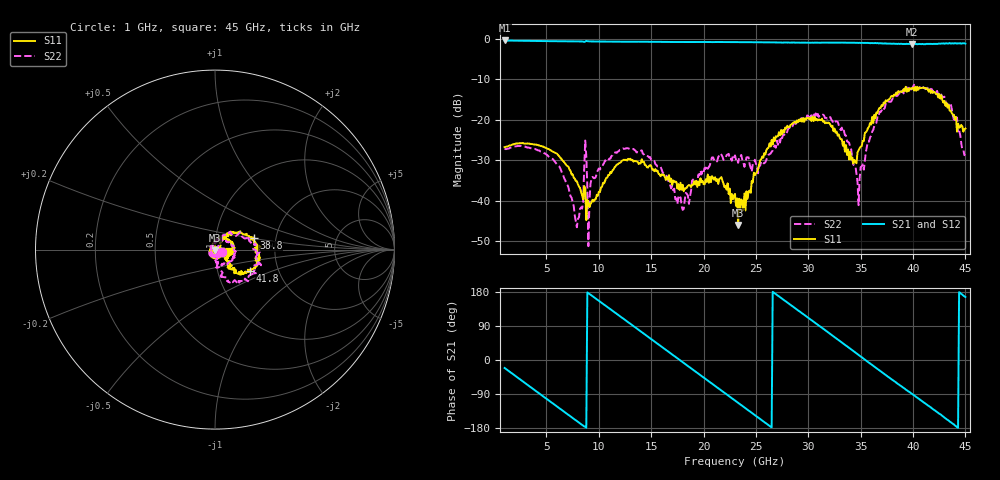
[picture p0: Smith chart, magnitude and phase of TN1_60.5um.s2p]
!Keysight Technologies,N5247B,MY61255062,A.19.80.06
!Date: Monday, May 18, 2026 12:19:07
!Correction: S11(Cdelta 2-Port  )
!S21(Cdelta 2-Port  )
!S12(Cdelta 2-Port  )
!S22(Cdelta 2-Port  )
!S2P File: Measurements: S11, S21, S12, S22:
# Hz S  dB  R 50
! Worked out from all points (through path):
!   441 points, 1 GHz to 45 GHz, reference 50 ohm
!   highest |S21| = -0.41 dB at 1 GHz (marker M1); lowest = -1.3 dB at 39.9 GHz (marker M2)
!   group delay of S21, straight-line fit = 56.3 ps
!   lowest |S11| = -46.0 dB at 23.3 GHz (marker M3), VSWR 1.01, Z = 49.9 - j0.476 ohm
!   |S11| at or under -10 dB: start of sweep to end of sweep
!   |S22| runs from -51.2 to -11.3 dB; largest |S21 - S12| = 0.02
!   S11 on the Smith chart (normalised r, x): 1 GHz: 1.09, -0.03; 38.8 GHz: 1.53, +0.21; 41.8 GHz: 1.43, -0.36; 45 GHz: 1.17, -0.02
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1e9  -26.78 -17.1  -0.41 -21.0  -0.41 -21.0  -27.18 -18.7
4.6e9  -26.60 -105.8  -0.56 -94.2  -0.56 -94.3  -28.07 -106.9
7.9e9  -35.20 -155.3  -0.62 -161.2  -0.63 -161.2  -46.57 -133.1
8.4e9  -38.62 -156.5  -0.65 -171.4  -0.65 -171.5  -41.95 -18.8
8.7e9  -37.05 148.4  -0.67 -175.9  -0.67 -175.9  -25.13 78.1
9.1e9  -41.57 -133.5  -0.64 174.4  -0.65 174.4  -40.32 -80.6
1.24e10  -29.84 -122.2  -0.73 107.9  -0.73 107.8  -27.17 -105.0
1.57e10  -33.37 163.2  -0.75 40.9  -0.76 40.9  -31.48 -174.3
1.79e10  -37.31 74.4  -0.80 -3.5  -0.80 -3.5  -41.21 91.0
1.89e10  -36.05 33.4  -0.79 -23.7  -0.80 -23.7  -35.06 1.2
2.3e10  -38.32 -91.4  -0.82 -106.9  -0.81 -107.0  -28.80 -94.3
2.33e10  -46.03 -107.0  -0.81 -113.0  -0.81 -113.1  -30.63 -109.0
2.67e10  -24.40 81.6  -0.89 178.0  -0.90 177.9  -26.74 87.5
3.04e10  -19.17 5.1  -0.96 103.3  -0.97 103.1  -19.66 -12.8
3.34e10  -25.39 -30.5  -0.95 42.2  -0.97 42.1  -22.68 -82.5
3.48e10  -27.50 39.8  -1.02 13.2  -0.99 13.2  -41.10 172.6
3.77e10  -15.02 29.5  -1.19 -45.9  -1.19 -45.8  -15.54 32.0
3.88e10  -12.99 16.5  -1.26 -67.7  -1.25 -67.8  -12.80 7.2
3.99e10  -12.31 -0.6  -1.34 -89.3  -1.30 -89.9  -12.37 -17.6
4.18e10  -12.80 -31.7  -1.29 -127.5  -1.28 -127.6  -12.47 -46.5
4.36e10  -17.82 -42.9  -1.19 -164.2  -1.15 -164.3  -16.10 -80.1
4.5e10  -22.19 -6.6  -1.20 166.2  -1.12 165.9  -28.79 -18.6
